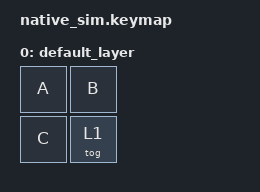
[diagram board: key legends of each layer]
#include <dt-bindings/zmk/keys.h>
#include <behaviors.dtsi>
#include <dt-bindings/zmk/input_mock.h>

/* it is useful to set timeout to a large value when attaching a debugger. */
#define TIMEOUT (60*60*1000)

/ {
    combos {
        compatible = "zmk,combos";
        combo_one {
            timeout-ms = <TIMEOUT>;
            key-positions = <0 1>;
            bindings = <&kp X>;
            layers = <1>;
        };
    };

    keymap {
        compatible = "zmk,keymap";

        default_layer {
            bindings = <
                &kp A &kp B
                &kp C &tog 1
            >;
        };
    };
};

&mock_input {
    events = <
        /* Combo One */
        ZMK_INPUT_MOCK_PRESS(0,0,10)
        ZMK_INPUT_MOCK_PRESS(0,1,10)
        ZMK_INPUT_MOCK_RELEASE(0,0,10)
        ZMK_INPUT_MOCK_RELEASE(0,1,10)
    >;
};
